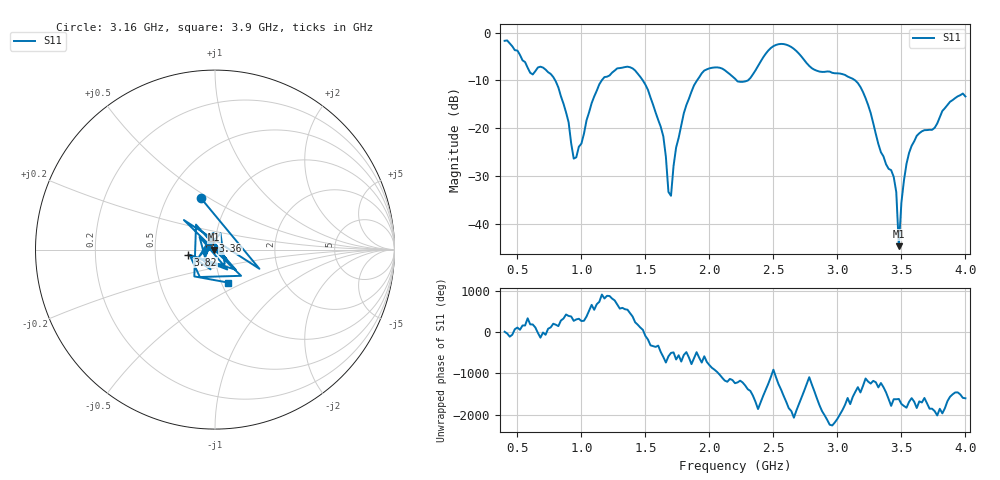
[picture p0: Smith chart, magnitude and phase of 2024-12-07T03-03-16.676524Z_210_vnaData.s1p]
!Created with skrf (http://scikit-rf.org).
# Hz S RI R 50.0
!freq ReS11 ImS11
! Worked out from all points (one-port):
!   181 points, 400 MHz to 4 GHz, reference 50 ohm
!   lowest |S11| = -44.7 dB at 3.48 GHz (marker M1), VSWR 1.01, Z = 49.4 + j0.0121 ohm
!   |S11| at or under -10 dB: 795.2 MHz to 1.159 GHz (363.9 MHz wide, 37.2 % of centre); 1.479 GHz to 1.904 GHz (424.4 MHz wide, 25.1 % of centre); 3.138 GHz to end of sweep (the widest 3 of 4)
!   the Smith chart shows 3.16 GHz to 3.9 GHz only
!   S11 on the Smith chart (normalised r, x): 3.16 GHz: 0.73, +0.46; 3.36 GHz: 0.97, +0.10; 3.82 GHz: 0.74, -0.04; 3.9 GHz: 1.07, -0.41
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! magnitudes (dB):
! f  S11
! 400 MHz  -1.7
! 600 MHz  -8.4
! 760 MHz  -8.7
! 860 MHz  -14.9
! 960 MHz  -26.1
! 1.14 GHz  -10.8
! 1.3 GHz  -7.4
! 1.52 GHz  -12.0
! 1.64 GHz  -21.7
! 1.68 GHz  -33.4
! 1.7 GHz  -34.2
! 1.76 GHz  -22.0
! 1.96 GHz  -7.9
! 2.2 GHz  -9.6
! 2.3 GHz  -10.0
! 2.5 GHz  -2.8
! 2.66 GHz  -3.4
! 3.1 GHz  -9.4
! 3.16 GHz  -10.6
! 3.36 GHz  -25.9
! 3.44 GHz  -30.2
! 3.46 GHz  -33.4
! 3.48 GHz  -44.7
! 3.5 GHz  -35.6
! 3.56 GHz  -25.2
! 3.82 GHz  -16.4
! 3.9 GHz  -14.1
! 4 GHz  -13.4
